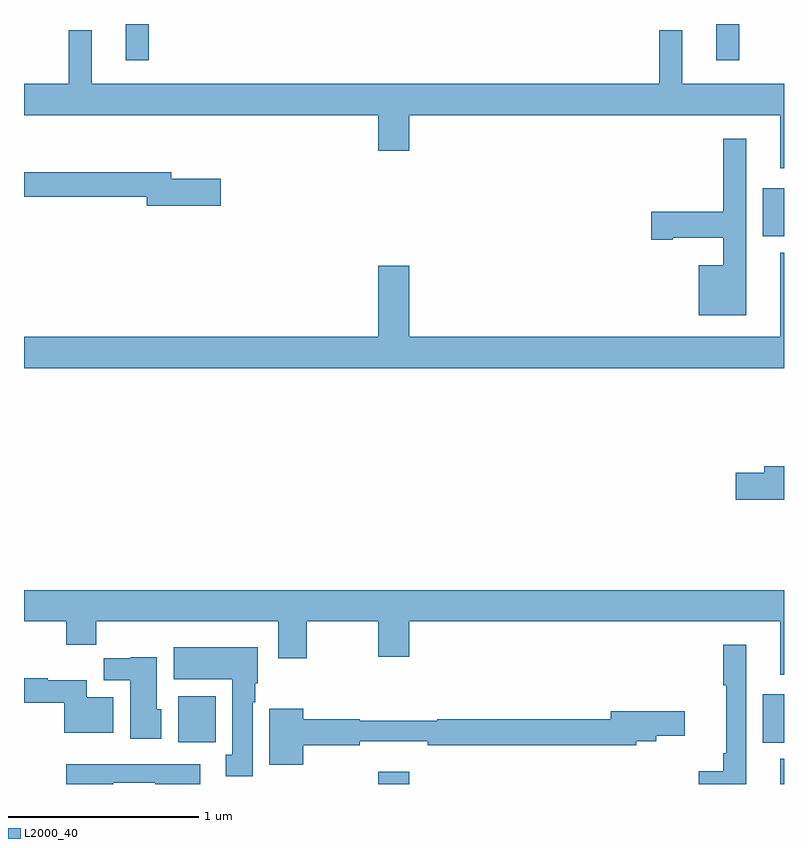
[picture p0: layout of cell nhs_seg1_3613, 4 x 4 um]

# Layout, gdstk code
import gdstk
lib = gdstk.Library(unit=1e-6, precision=1e-09)
def R(c, l, rs):  # rectangles x0, y0, x1, y1
    for r in rs: c.add(gdstk.rectangle(r[:2], r[2:], *l))
def P(c, l, *ps):  # polygons
    for p in ps: c.add(gdstk.Polygon(p, *l))
L2000_40 = (2000, 40)

nhs_seg1_3613 = lib.new_cell('nhs_seg1_3613')
R(nhs_seg1_3613, L2000_40, [(308.864,560.199,309.028,560.263), (310.979,560.199,311,560.332), (310.889,560.417,311,560.671), (307.811,560.42,308.008,560.662), (310.889,563.081,311,563.335), (307.535,564.009,307.657,564.199), (310.643,564.009,310.765,564.199)])
P(nhs_seg1_3613, L2000_40, [(311,563.884),(310.465,563.884),(310.465,564.166),(310.344,564.166),(310.344,563.884),(307.357,563.884),(307.357,564.166),(307.236,564.166),(307.236,563.884),(307,563.884),(307,563.72),(308.864,563.72),(308.864,563.532),(309.028,563.532),(309.028,563.72),(310.979,563.72),(310.979,563.439),(311,563.439)],
  [(310.801,563.596),(310.68,563.596),(310.68,563.21),(310.302,563.21),(310.302,563.063),(310.414,563.063),(310.414,563.075),(310.68,563.075),(310.68,562.93),(310.55,562.93),(310.55,562.667),(310.801,562.667)],
  [(308.035,563.385),(307.774,563.385),(307.774,563.419),(307,563.419),(307,563.29),(307.646,563.29),(307.646,563.243),(308.035,563.243)],
  [(311,562.996),(310.979,562.996),(310.979,562.552),(309.028,562.552),(309.028,562.927),(308.864,562.927),(308.864,562.552),(307,562.552),(307,562.388),(311,562.388)],
  [(311,561.872),(310.895,561.872),(310.895,561.836),(310.746,561.836),(310.746,561.694),(311,561.694)],
  [(311,561.22),(307,561.22),(307,561.056),(307.223,561.056),(307.223,560.932),(307.379,560.932),(307.379,561.056),(308.339,561.056),(308.339,560.862),(308.487,560.862),(308.487,561.056),(308.864,561.056),(308.864,560.868),(309.028,560.868),(309.028,561.056),(310.979,561.056),(310.979,560.775),(311,560.775)],
  [(310.801,560.932),(310.68,560.932),(310.68,560.719),(310.697,560.719),(310.697,560.362),(310.68,560.362),(310.68,560.266),(310.55,560.266),(310.55,560.199),(310.801,560.199)],
  [(308.203,560.63),(308.218,560.63),(308.218,560.73),(308.23,560.73),(308.23,560.92),(307.787,560.92),(307.787,560.75),(308.096,560.75),(308.096,560.354),(308.063,560.354),(308.063,560.241),(308.203,560.241)],
  [(307.723,560.592),(307.699,560.592),(307.699,560.866),(307.563,560.866),(307.563,560.862),(307.42,560.862),(307.42,560.744),(307.559,560.744),(307.559,560.438),(307.723,560.438)],
  [(307.471,560.656),(307.33,560.656),(307.33,560.744),(307.124,560.744),(307.124,560.755),(307,560.755),(307,560.626),(307.213,560.626),(307.213,560.468),(307.471,560.468)],
  [(308.47,560.404),(308.768,560.404),(308.768,560.423),(309.124,560.423),(309.124,560.404),(310.223,560.404),(310.223,560.423),(310.327,560.423),(310.327,560.453),(310.477,560.453),(310.477,560.583),(310.088,560.583),(310.088,560.54),(309.175,560.54),(309.175,560.533),(308.766,560.533),(308.766,560.54),(308.47,560.54),(308.47,560.596),(308.291,560.596),(308.291,560.3),(308.47,560.3)],
  [(307.471,560.205),(307.691,560.205),(307.691,560.199),(307.927,560.199),(307.927,560.302),(307.223,560.302),(307.223,560.199),(307.471,560.199)])

lib.write_gds('nhs_seg1_3613.gds')
